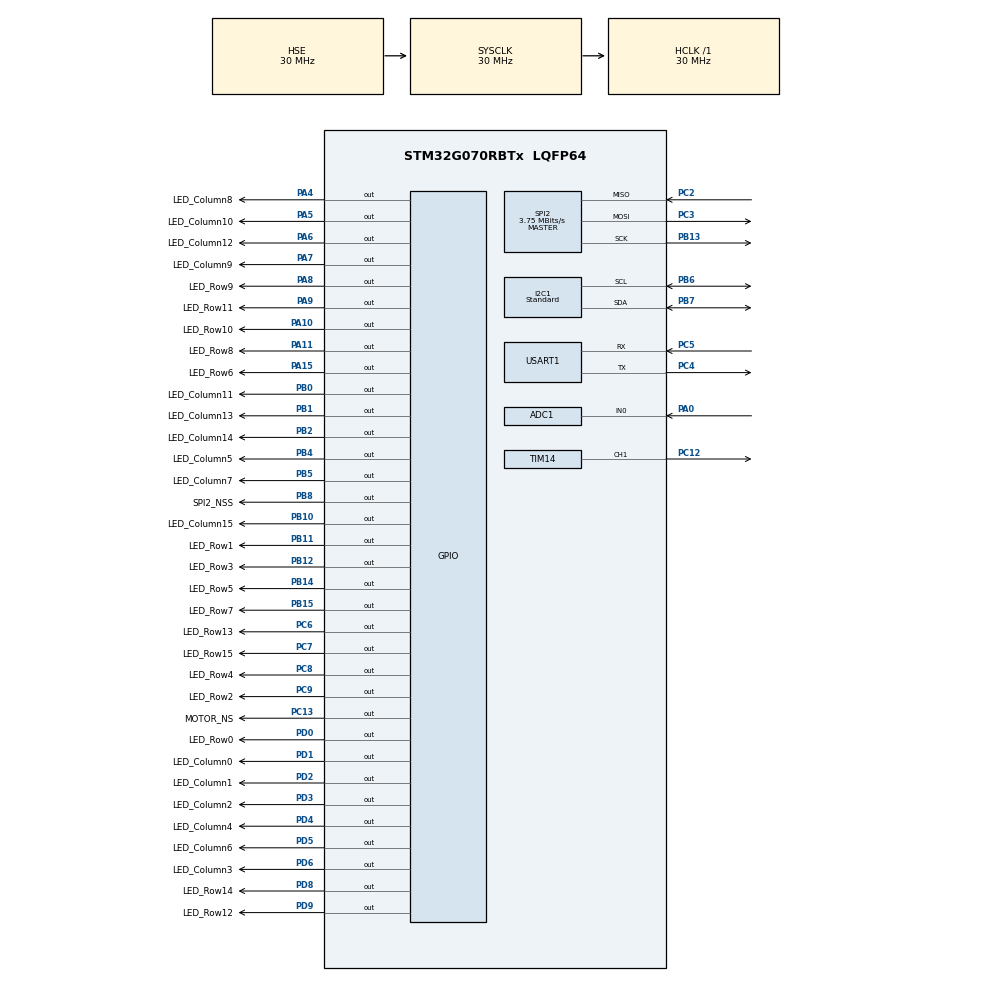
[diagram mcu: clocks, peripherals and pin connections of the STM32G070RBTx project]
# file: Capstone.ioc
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ADC1.Channel-0\#ChannelRegularConversion=ADC_CHANNEL_0
ADC1.NbrOfConversionFlag=1
ADC1.Rank-0\#ChannelRegularConversion=1
ADC1.SamplingTime-0\#ChannelRegularConversion=ADC_SAMPLINGTIME_COMMON_1
ADC1.SelectedChannel=ADC_CHANNEL_0
ADC1.master=1
FATFS.DISKIO_CODE=0
FATFS._FS_REENTRANT=0
FATFS._MAX_SS=512
FATFS._USE_LFN=0
FREERTOS.Tasks01=driveLED,40,128,StartDriveLED,Default,NULL,Dynamic,NULL,NULL
FREERTOS.configUSE_NEWLIB_REENTRANT=1
I2C1.I2C_Speed_Mode=I2C_Standard
I2C1.Timing=0x60101017
Mcu.Family=STM32G0
Mcu.Name=STM32G070RBTx
Mcu.Package=LQFP64
NVIC.I2C1_IRQn=true\:3\:0\:false\:false\:true\:true\:true\:true\:true
NVIC.SPI2_IRQn=true\:3\:0\:false\:false\:true\:true\:true\:true\:true
NVIC.TIM3_IRQn=true\:3\:0\:false\:false\:true\:true\:true\:true\:true
NVIC.TIM6_IRQn=true\:2\:0\:true\:false\:true\:false\:false\:true\:true
NVIC.TimeBase=TIM6_IRQn
NVIC.TimeBaseIP=TIM6
PA0.Mode=IN0
PA0.Signal=ADC1_IN0
PA10.GPIO_FMPA10=SYSCFG_FASTMODEPLUS_PA10
PA10.GPIO_Label=LED_Row10
PA10.GPIO_Speed=GPIO_SPEED_FREQ_VERY_HIGH
PA10.Signal=GPIO_Output
PA11\ [PA9].GPIO_Label=LED_Row8
PA11\ [PA9].GPIO_Speed=GPIO_SPEED_FREQ_VERY_HIGH
PA11\ [PA9].Signal=GPIO_Output
PA13.Mode=Serial_Wire
PA13.Signal=SYS_SWDIO
PA14-BOOT0.Mode=Serial_Wire
PA14-BOOT0.Signal=SYS_SWCLK
PA15.GPIO_Label=LED_Row6
PA15.GPIO_Speed=GPIO_SPEED_FREQ_VERY_HIGH
PA15.Signal=GPIO_Output
PA4.GPIO_Label=LED_Column8
PA4.GPIO_Speed=GPIO_SPEED_FREQ_VERY_HIGH
PA4.Signal=GPIO_Output
PA5.GPIO_Label=LED_Column10
PA5.GPIO_Speed=GPIO_SPEED_FREQ_VERY_HIGH
PA5.Signal=GPIO_Output
PA6.GPIO_Label=LED_Column12
PA6.GPIO_Speed=GPIO_SPEED_FREQ_VERY_HIGH
PA6.Signal=GPIO_Output
PA7.GPIO_Label=LED_Column9
PA7.GPIO_Speed=GPIO_SPEED_FREQ_VERY_HIGH
PA7.Signal=GPIO_Output
PA8.GPIO_Label=LED_Row9
PA8.GPIO_Speed=GPIO_SPEED_FREQ_VERY_HIGH
PA8.Signal=GPIO_Output
PA9.GPIO_FMPA9=SYSCFG_FASTMODEPLUS_PA9
PA9.GPIO_Label=LED_Row11
PA9.GPIO_Speed=GPIO_SPEED_FREQ_VERY_HIGH
PA9.Signal=GPIO_Output
PB0.GPIO_Label=LED_Column11
PB0.GPIO_Speed=GPIO_SPEED_FREQ_VERY_HIGH
PB0.Signal=GPIO_Output
PB1.GPIO_Label=LED_Column13
PB1.GPIO_Speed=GPIO_SPEED_FREQ_VERY_HIGH
PB1.Signal=GPIO_Output
PB10.GPIO_Label=LED_Column15
PB10.GPIO_Speed=GPIO_SPEED_FREQ_VERY_HIGH
PB10.Signal=GPIO_Output
PB11.GPIO_Label=LED_Row1
PB11.GPIO_Speed=GPIO_SPEED_FREQ_VERY_HIGH
PB11.Signal=GPIO_Output
PB12.GPIO_Label=LED_Row3
PB12.GPIO_Speed=GPIO_SPEED_FREQ_VERY_HIGH
PB12.Signal=GPIO_Output
PB13.GPIO_PuPd=GPIO_PULLUP
PB13.GPIO_Speed=GPIO_SPEED_FREQ_VERY_HIGH
PB13.Mode=Full_Duplex_Master
PB13.Signal=SPI2_SCK
PB14.GPIO_Label=LED_Row5
PB14.GPIO_Speed=GPIO_SPEED_FREQ_VERY_HIGH
PB14.Signal=GPIO_Output
PB15.GPIO_Label=LED_Row7
PB15.GPIO_Speed=GPIO_SPEED_FREQ_VERY_HIGH
PB15.Signal=GPIO_Output
PB2.GPIO_Label=LED_Column14
PB2.GPIO_Speed=GPIO_SPEED_FREQ_VERY_HIGH
PB2.Signal=GPIO_Output
PB4.GPIO_Label=LED_Column5
PB4.GPIO_Speed=GPIO_SPEED_FREQ_VERY_HIGH
PB4.Signal=GPIO_Output
PB5.GPIO_Label=LED_Column7
PB5.GPIO_Speed=GPIO_SPEED_FREQ_VERY_HIGH
PB5.Signal=GPIO_Output
PB6.GPIO_Pu=GPIO_PULLUP
PB6.GPIO_Speed=GPIO_SPEED_FREQ_VERY_HIGH
PB6.Mode=I2C
PB6.Signal=I2C1_SCL
PB7.GPIO_Pu=GPIO_PULLUP
PB7.GPIO_Speed=GPIO_SPEED_FREQ_VERY_HIGH
PB7.Mode=I2C
PB7.Signal=I2C1_SDA
PB8.GPIO_FM8=SYSCFG_FASTMODEPLUS_PB8
PB8.GPIO_Label=SPI2_NSS
PB8.GPIO_PuPd=GPIO_PULLUP
PB8.GPIO_Speed=GPIO_SPEED_FREQ_VERY_HIGH
PB8.Signal=GPIO_Output
PC12.Signal=S_TIM14_CH1
PC13.GPIO_Label=MOTOR_NS
PC13.Signal=GPIO_Output
PC2.GPIO_PuPd=GPIO_PULLUP
PC2.GPIO_Speed=GPIO_SPEED_FREQ_VERY_HIGH
PC2.Mode=Full_Duplex_Master
PC2.Signal=SPI2_MISO
PC3.GPIO_PuPd=GPIO_PULLUP
PC3.GPIO_Speed=GPIO_SPEED_FREQ_VERY_HIGH
PC3.Mode=Full_Duplex_Master
PC3.Signal=SPI2_MOSI
PC4.Mode=Asynchronous
PC4.Signal=USART1_TX
PC5.Mode=Asynchronous
PC5.Signal=USART1_RX
PC6.GPIO_Label=LED_Row13
PC6.GPIO_Speed=GPIO_SPEED_FREQ_VERY_HIGH
PC6.Signal=GPIO_Output
PC7.GPIO_Label=LED_Row15
PC7.GPIO_Speed=GPIO_SPEED_FREQ_VERY_HIGH
PC7.Signal=GPIO_Output
PC8.GPIO_Label=LED_Row4
PC8.GPIO_Speed=GPIO_SPEED_FREQ_VERY_HIGH
PC8.Signal=GPIO_Output
PC9.GPIO_Label=LED_Row2
PC9.GPIO_Speed=GPIO_SPEED_FREQ_VERY_HIGH
PC9.Signal=GPIO_Output
PD0.GPIO_Label=LED_Row0
PD0.GPIO_Speed=GPIO_SPEED_FREQ_VERY_HIGH
PD0.Signal=GPIO_Output
PD1.GPIO_Label=LED_Column0
PD1.GPIO_Speed=GPIO_SPEED_FREQ_VERY_HIGH
PD1.Signal=GPIO_Output
PD2.GPIO_Label=LED_Column1
PD2.GPIO_Speed=GPIO_SPEED_FREQ_VERY_HIGH
PD2.Signal=GPIO_Output
PD3.GPIO_Label=LED_Column2
PD3.GPIO_Speed=GPIO_SPEED_FREQ_VERY_HIGH
PD3.Signal=GPIO_Output
PD4.GPIO_Label=LED_Column4
PD4.GPIO_Speed=GPIO_SPEED_FREQ_VERY_HIGH
PD4.Signal=GPIO_Output
PD5.GPIO_Label=LED_Column6
PD5.GPIO_Speed=GPIO_SPEED_FREQ_VERY_HIGH
PD5.Signal=GPIO_Output
PD6.GPIO_Label=LED_Column3
PD6.GPIO_Speed=GPIO_SPEED_FREQ_VERY_HIGH
PD6.Signal=GPIO_Output
PD8.GPIO_Label=LED_Row14
PD8.GPIO_Speed=GPIO_SPEED_FREQ_VERY_HIGH
PD8.Signal=GPIO_Output
PD9.GPIO_Label=LED_Row12
PD9.GPIO_Speed=GPIO_SPEED_FREQ_VERY_HIGH
PD9.Signal=GPIO_Output
PF0-OSC_IN\ (PF0).Mode=HSE-External-Oscillator
PF0-OSC_IN\ (PF0).Signal=RCC_OSC_IN
PF1-OSC_OUT\ (PF1).Mode=HSE-External-Oscillator
PF1-OSC_OUT\ (PF1).Signal=RCC_OSC_OUT
ProjectManager.HeapSize=0x200
ProjectManager.StackSize=0x400
ProjectManager.TargetToolchain=STM32CubeIDE
RCC.ADCFreq_Value=30000000
RCC.AHBFreq_Value=30000000
RCC.CortexFreq_Value=30000000
RCC.EXTERNAL_CLOCK_VALUE=48000
RCC.HCLKFreq_Value=30000000
RCC.HSE_VALUE=30000000
RCC.HSI_VALUE=16000000
RCC.LSE_VALUE=32768
RCC.SYSCLKFreq_VALUE=30000000
RCC.SYSCLKSource=RCC_SYSCLKSOURCE_HSE
RCC.VCOOutputFreq_Value=128000000
SH.S_TIM14_CH1.0=TIM14_CH1,PWM Generation1 CH1
SPI2.BaudRatePrescaler=SPI_BAUDRATEPRESCALER_8
SPI2.CalculateBaudRate=3.75 MBits/s
SPI2.DataSize=SPI_DATASIZE_8BIT
SPI2.Direction=SPI_DIRECTION_2LINES
SPI2.Mode=SPI_MODE_MASTER
SPI2.VirtualType=VM_MASTER
TIM14.Channel=TIM_CHANNEL_1
TIM3.Period=36360-1
TIM3.TIM_MasterOutputTrigger=TIM_TRGO_UPDATE
USART1.VirtualMode-Asynchronous=VM_ASYNC
VP_FATFS_VS_Generic.Mode=User_defined
VP_FREERTOS_VS_CMSIS_V2.Mode=CMSIS_V2
VP_SYS_VS_tim6.Mode=TIM6
VP_TIM14_VS_ClockSourceINT.Mode=Enable_Timer
VP_TIM3_VS_ClockSourceINT.Mode=Internal
board=custom

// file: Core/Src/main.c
/* USER CODE BEGIN Header */
/**
 ******************************************************************************
 * @file           : main.c
 * @brief          : Main program body
 ******************************************************************************
 * @attention
 *
 * Copyright (c) 2024 STMicroelectronics.
 * All rights reserved.
 *
 * This software is licensed under terms that can be found in the LICENSE file
 * in the root directory of this software component.
 * If no LICENSE file comes with this software, it is provided AS-IS.
 *
 *  FatFs code based on tutorial project by kiwih at https://github.com/kiwih/cubeide-sd-card
 *  Portions copyright (c) 2020 STMicroelectronics International N.V., all rights reserved.
 *  Portions copyright (C) 2014, ChaN, all rights reserved.
 *  Portions copyright (C) 2017, 2020, kiwih, all rights reserved.
 *
 *  Redistribution and use in source and binary forms, with or without
 *  modification, are permitted, provided that the following conditions are met:
 *
 *  1. Redistribution of source code must retain the above copyright notice,
 *     this list of conditions and the following disclaimer.
 *  2. Redistributions in binary form must reproduce the above copyright notice,
 *     this list of conditions and the following disclaimer in the documentation
 *     and/or other materials provided with the distribution.
 *  3. Neither the name of STMicroelectronics nor the names of other
 *     contributors to this software may be used to endorse or promote products
 *     derived from this software without specific written permission.
 *  4. This software, including modifications and/or derivative works of this
 *     software, must execute solely and exclusively on microcontroller or
 *     microprocessor devices manufactured by or for STMicroelectronics.
 *  5. Redistribution and use of this software other than as permitted under
 *     this license is void and will automatically terminate your rights under
 *     this license.
 *
 * THIS SOFTWARE IS PROVIDED BY STMICROELECTRONICS AND CONTRIBUTORS "AS IS"
 * AND ANY EXPRESS, IMPLIED OR STATUTORY WARRANTIES, INCLUDING, BUT NOT
 * LIMITED TO, THE IMPLIED WARRANTIES OF MERCHANTABILITY, FITNESS FOR A
 * PARTICULAR PURPOSE AND NON-INFRINGEMENT OF THIRD PARTY INTELLECTUAL PROPERTY
 * RIGHTS ARE DISCLAIMED TO THE FULLEST EXTENT PERMITTED BY LAW. IN NO EVENT
 * SHALL STMICROELECTRONICS OR CONTRIBUTORS BE LIABLE FOR ANY DIRECT, INDIRECT,
 * INCIDENTAL, SPECIAL, EXEMPLARY, OR CONSEQUENTIAL DAMAGES (INCLUDING, BUT NOT
 * LIMITED TO, PROCUREMENT OF SUBSTITUTE GOODS OR SERVICES; LOSS OF USE, DATA,
 * OR PROFITS; OR BUSINESS INTERRUPTION) HOWEVER CAUSED AND ON ANY THEORY OF
 * LIABILITY, WHETHER IN CONTRACT, STRICT LIABILITY, OR TORT (INCLUDING
 * NEGLIGENCE OR OTHERWISE) ARISING IN ANY WAY OUT OF THE USE OF THIS SOFTWARE,
 * EVEN IF ADVISED OF THE POSSIBILITY OF SUCH DAMAGE.
 *
 ******************************************************************************
 */
/* USER CODE END Header */
#include "main.h"
#include "cmsis_os.h"
#include "adc.h"
#include "app_fatfs.h"
#include "i2c.h"
#include "spi.h"
#include "tim.h"
#include "usart.h"
#include "gpio.h"

/* USER CODE BEGIN Includes */
#include <stdio.h>
#include <string.h>
#include <stdarg.h> //for va_list var arg functions
/* USER CODE END Includes */

/* USER CODE BEGIN PD */
#define BUFFER_SIZE 64

//#define TEST_LEDS
#define TEST_SD
/* USER CODE END PD */

/* USER CODE BEGIN PV */
uint8_t current_frame = 0;
extern uint16_t image_leds[55][16];

extern GPIO_TypeDef *led_column_ports[];
extern uint16_t led_column_pins[];
extern GPIO_TypeDef *led_row_ports[];
extern uint16_t led_row_pins[];

uint8_t OutputBuffer[BUFFER_SIZE];
uint16_t i = 0;
uint8_t ReceiveCharacter = 0;

uint8_t rx_buffer[BUFFER_SIZE];
uint8_t rx_index = 0;
/* USER CODE END PV */

void SystemClock_Config(void);
void MX_FREERTOS_Init(void);

int main(void)
{

  /* MCU Configuration--------------------------------------------------------*/

  /* Reset of all peripherals, Initializes the Flash interface and the Systick. */
  HAL_Init();

  /* Configure the system clock */
  SystemClock_Config();

  /* Initialize all configured peripherals */
  MX_GPIO_Init();
  if (MX_FATFS_Init() != APP_OK) {
    Error_Handler();
  }
  MX_I2C1_Init();
  MX_ADC1_Init();
  MX_SPI2_Init();
  MX_TIM14_Init();
  MX_USART1_UART_Init();
  MX_TIM3_Init();
  /* USER CODE BEGIN 2 */
  if (HAL_TIM_Base_Start_IT(&htim3) != HAL_OK) {
	  Error_Handler();
  }

//  SD card testing code
#ifdef TEST_SD
  for (uint8_t i = 0; i < 16; i++) {
	  HAL_GPIO_WritePin(led_row_ports[i], led_row_pins[i], GPIO_PIN_SET);
  }
  for (i = 0; i < 16; i++) {
	  HAL_GPIO_WritePin(led_column_ports[i], led_column_pins[i], GPIO_PIN_SET);
  }
  HAL_GPIO_WritePin(led_row_ports[0], led_row_pins[0], GPIO_PIN_RESET);

  HAL_Delay(1000); // short delay to let the SD card settle

  // some variables for FatFs
  FATFS FatFs; 	// Fatfs handle
  FIL fil; 		// File handle
  FRESULT fres; 	// Result after operations

  // open the file system
  fres = f_mount(&FatFs, "", 1); //1=mount now
  if (fres != FR_OK) {
	  HAL_GPIO_WritePin(led_row_ports[15], led_row_pins[15], GPIO_PIN_RESET);
	  while(1);
  }
  HAL_GPIO_WritePin(led_row_ports[1], led_row_pins[1], GPIO_PIN_RESET);

  // gather statistics from the SD card
  DWORD free_clusters;

  FATFS* getFreeFs;

  fres = f_getfree("", &free_clusters, &getFreeFs);
  if (fres != FR_OK) {
	  while(1);
  }

  HAL_GPIO_WritePin(led_row_ports[2], led_row_pins[2], GPIO_PIN_RESET);

  //Now let's try to open file "test.txt"
  fres = f_open(&fil, "test.txt", FA_READ);
  if (fres != FR_OK) {
	  HAL_GPIO_WritePin(led_row_ports[15], led_row_pins[15], GPIO_PIN_RESET);
	  while(1);
  }

  HAL_GPIO_WritePin(led_row_ports[3], led_row_pins[3], GPIO_PIN_RESET);

  BYTE readBuf[17];
  int x = -1;
  int x3 = 0;
  int image = 0;
  char fullText[128];
  unsigned int decimal_value = 0;
  memset(fullText, 0, sizeof(fullText));
  TCHAR* rres3 = "4";
  if(rres3 != 0) {
	  while (x < 1760) { //this states limit of how big the txt is
		  f_gets((TCHAR*)readBuf, 17, &fil);
		  x += 1;
		  decimal_value = 0;
		  if ((x+1) % 2 == 1) {
			  // Concatenate the read line to the full text buffer
			  for (int i = 0; i < 16; i++) { // the 16 bits when running
				  // Convert '1' or '0' char to its integer value
				  int bit_value = readBuf[i] - '0'; // '1' - '0' = 1, '0' - '0' = 0

				  // Update the decimal value
				  decimal_value = (decimal_value << 1) | bit_value; // Left-shift and add the current bit
			  }
			  image_leds[image][x3] = decimal_value;
			  x3 += 1;
		  }
		  if (x3 > 15) {
			  image += 1;
			  x3 = 0;
		  }
	  }
  } else {
	  HAL_GPIO_WritePin(led_row_ports[15], led_row_pins[15], GPIO_PIN_RESET);
	  while (1);
  }

  HAL_GPIO_WritePin(led_row_ports[4], led_row_pins[4], GPIO_PIN_RESET);

  f_close(&fil);

  HAL_GPIO_WritePin(led_row_ports[5], led_row_pins[5], GPIO_PIN_RESET);

  //We're done, so de-mount the drive
  f_mount(NULL, "", 0);

  HAL_GPIO_WritePin(led_row_ports[6], led_row_pins[6], GPIO_PIN_RESET);

#elif TEST_LEDS
  	// nmos = columns | pmos = rows
  	for (uint8_t j = 0; j < 16; j++) {
  		HAL_GPIO_WritePin(led_column_ports[j], led_column_pins[j], GPIO_PIN_SET);
  	}

  	for (uint8_t i = 0; i < 16; i++) {
  		HAL_GPIO_WritePin(led_row_ports[i], led_row_pins[i], GPIO_PIN_SET);
  	}
  	i = 0;
  	while (1) {
  		HAL_GPIO_WritePin(led_row_ports[i], led_row_pins[i], GPIO_PIN_RESET);
  		HAL_Delay(25);
  		HAL_GPIO_WritePin(led_row_ports[i], led_row_pins[i], GPIO_PIN_SET);
  		i++;
  		if (i > 15) i = 0;
  	}
#else
//  	for (uint8_t i = 0; i < 55; i++) {
//  		image_leds[i][0] = 0xFFFF;
//  		image_leds[i][1] = 0xFFFF;
//  		image_leds[i][2] = 0xFFFF;
//  		image_leds[i][3] = 0xFFFF;
//  		image_leds[i][4] = 0x0000;
//  		image_leds[i][5] = 0x0000;
//  		image_leds[i][6] = 0x0000;
//  		image_leds[i][7] = 0x0000;
//  		image_leds[i][8] = 0x0000;
//  		image_leds[i][9] = 0x0000;
//  		image_leds[i][10] = 0x0000;
//  		image_leds[i][11] = 0x0000;
//  		image_leds[i][12] = 0xFFFF;
//  		image_leds[i][13] = 0xFFFF;
//  		image_leds[i][14] = 0xFFFF;
//  		image_leds[i][15] = 0xFFFF;
//  	}
  	for (uint8_t i = 0; i < 55; i++) {
  	  image_leds[i][0] = 0x0000;
	  image_leds[i][1] = 0x0000;
	  image_leds[i][2] = 0x0000;
	  image_leds[i][3] = 0x0000;
	  image_leds[i][4] = 0x0000;
	  image_leds[i][5] = 0x0000;
	  image_leds[i][6] = 0x0000;
	  image_leds[i][7] = 0x0000;
	  image_leds[i][8] = 0x0000;
	  image_leds[i][9] = 0x0000;
	  image_leds[i][10] = 0x0000;
	  image_leds[i][11] = 0x0000;
	  image_leds[i][12] = 0x0000;
	  image_leds[i][13] = 0x0000;
	  image_leds[i][14] = 0x0000;
	  image_leds[i][15] = 0x0000;

	  image_leds[i][i % 16] = 0xFFFF;
  }
#endif
  /* USER CODE END 2 */

  /* Init scheduler */
  osKernelInitialize();

  /* Call init function for freertos objects (in cmsis_os2.c) */
  MX_FREERTOS_Init();

  /* Start scheduler */
  osKernelStart();

  /* We should never get here as control is now taken by the scheduler */

  /* Infinite loop */
	while (1)
	{

	}
}

void SystemClock_Config(void)
{
  RCC_OscInitTypeDef RCC_OscInitStruct = {0};
  RCC_ClkInitTypeDef RCC_ClkInitStruct = {0};

  /** Configure the main internal regulator output voltage
  */
  HAL_PWREx_ControlVoltageScaling(PWR_REGULATOR_VOLTAGE_SCALE1);

  /** Initializes the RCC Oscillators according to the specified parameters
  * in the RCC_OscInitTypeDef structure.
  */
  RCC_OscInitStruct.OscillatorType = RCC_OSCILLATORTYPE_HSE;
  RCC_OscInitStruct.HSEState = RCC_HSE_ON;
  RCC_OscInitStruct.PLL.PLLState = RCC_PLL_NONE;
  if (HAL_RCC_OscConfig(&RCC_OscInitStruct) != HAL_OK)
  {
    Error_Handler();
  }

  /** Initializes the CPU, AHB and APB buses clocks
  */
  RCC_ClkInitStruct.ClockType = RCC_CLOCKTYPE_HCLK|RCC_CLOCKTYPE_SYSCLK
                              |RCC_CLOCKTYPE_PCLK1;
  RCC_ClkInitStruct.SYSCLKSource = RCC_SYSCLKSOURCE_HSE;
  RCC_ClkInitStruct.AHBCLKDivider = RCC_SYSCLK_DIV1;
  RCC_ClkInitStruct.APB1CLKDivider = RCC_HCLK_DIV1;

  if (HAL_RCC_ClockConfig(&RCC_ClkInitStruct, FLASH_LATENCY_1) != HAL_OK)
  {
    Error_Handler();
  }
}

/* USER CODE BEGIN 4 */
void ReadSD() {
	HAL_Delay(1000); // short delay to let the SD card settle

	// some variables for FatFs
	FATFS FatFs; 	// Fatfs handle
	FIL fil; 		// File handle
	FRESULT fres; 	// Result after operations

	// open the file system
	fres = f_mount(&FatFs, "", 1); //1=mount now
	if (fres != FR_OK) {
		while(1);
	}

	// gather statistics from the SD card
	DWORD free_clusters;

	FATFS* getFreeFs;

	fres = f_getfree("", &free_clusters, &getFreeFs);
	if (fres != FR_OK) {
		while(1);
	}

	//Now let's try to open file "test.txt"
	fres = f_open(&fil, "full_obj_output.txt", FA_READ);
	if (fres != FR_OK) {
		while(1);
	}

	BYTE readBuf[17];
	int x = -1;
	int x3 = 0;
	int image = 0;
	char fullText[128];
	unsigned int decimal_value = 0;
	memset(fullText, 0, sizeof(fullText));
	TCHAR* rres3 = "4";
	if(rres3 != 0) {
		while (x < 1760) { //this states limit of how big the txt is
			f_gets((TCHAR*)readBuf, 17, &fil);
			x += 1;
			decimal_value = 0;
			if ((x+1) % 2 == 1) {
				// Concatenate the read line to the full text buffer
				for (int i = 0; i < 16; i++) { // the 16 bits when running
					// Convert '1' or '0' char to its integer value
					int bit_value = readBuf[i] - '0'; // '1' - '0' = 1, '0' - '0' = 0

					// Update the decimal value
					decimal_value = (decimal_value << 1) | bit_value; // Left-shift and add the current bit
				}
				image_leds[image][x3] = decimal_value;
				x3 += 1;
			}
			if (x3 > 15) {
				image += 1;
				x3 = 0;
			}
		}

	}

	f_close(&fil);
	f_mount(NULL, "", 0);
}

//
void HAL_GPIO_EXTI_Falling_Callback(uint16_t GPIO_Pin) {
	// If chip select pin goes low, SD card was plugged in
	if (GPIO_Pin == SPI2_NSS_Pin) {
		// critical section to stop scheduler from exiting SD mount
		taskENTER_CRITICAL();
		ReadSD();
		taskEXIT_CRITICAL();
	}
}

// Callback for data reception
void HAL_I2C_MasterRxCpltCallback(I2C_HandleTypeDef *hi2c) {
    if (hi2c->Instance == I2C1) {
        // Handle received data
    	FIL fil; 		// File handle
    	BYTE readBuf[17];
    	int x = -1;
    	int x3 = 0;
    	int image = 0;
    	char fullText[128];
    	unsigned int decimal_value = 0;
    	memset(fullText, 0, sizeof(fullText));
    	TCHAR* rres3 = "4";
    	if (rres3 != 0) {
    		while (x < 1760) { //this states limit of how big the txt is
    			f_gets((TCHAR*)readBuf, 17, &fil);
    			x += 1;
    			decimal_value = 0;
    			if ((x+1) % 2 == 1) {
    				// Concatenate the read line to the full text buffer
    				for (int i = 0; i < 16; i++) { // the 16 bits when running
    					// Convert '1' or '0' char to its integer value
    					int bit_value = readBuf[i] - '0'; // '1' - '0' = 1, '0' - '0' = 0

    					// Update the decimal value
    					decimal_value = (decimal_value << 1) | bit_value; // Left-shift and add the current bit
    				}
    				image_leds[image][x3] = decimal_value;
    				x3 += 1;
    			}
    			if (x3 > 15) {
    				image += 1;
    				x3 = 0;
    			}
    		}
    	}
    	// For example, restart reception or process the received data
    	HAL_I2C_Master_Receive_IT(&hi2c1, 0x70, rx_buffer, BUFFER_SIZE);
    }
}

// Error callback
void HAL_I2C_ErrorCallback(I2C_HandleTypeDef *hi2c) {
    if (hi2c->Instance == I2C1) {
        // Handle I2C error
        Error_Handler();
    }
}

/* USER CODE END 4 */

void HAL_TIM_PeriodElapsedCallback(TIM_HandleTypeDef *htim)
{
  /* USER CODE BEGIN Callback 0 */
  if (htim->Instance == TIM3) {
	current_frame = (current_frame + 1) % 55;
  }
  /* USER CODE END Callback 0 */
  if (htim->Instance == TIM6) {
    HAL_IncTick();
  }
}

void Error_Handler(void)
{
	__disable_irq();
	while (1)
	{
	}
}

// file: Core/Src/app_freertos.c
/* USER CODE BEGIN Header */
/**
 ******************************************************************************
 * File Name          : app_freertos.c
 * Description        : Code for freertos applications
 ******************************************************************************
 * @attention
 *
 * Copyright (c) 2024 STMicroelectronics.
 * All rights reserved.
 *
 * This software is licensed under terms that can be found in the LICENSE file
 * in the root directory of this software component.
 * If no LICENSE file comes with this software, it is provided AS-IS.
 *
 ******************************************************************************
 */
/* USER CODE END Header */

#include "FreeRTOS.h"
#include "task.h"
#include "main.h"
#include "cmsis_os.h"

/* USER CODE BEGIN Includes */
#include "app_fatfs.h"
#include <stdio.h>
#include <string.h>
#include <stdarg.h>
/* USER CODE END Includes */

/* USER CODE BEGIN Variables */
GPIO_TypeDef *led_column_ports[] = {LED_Column0_GPIO_Port, LED_Column1_GPIO_Port, LED_Column2_GPIO_Port, LED_Column3_GPIO_Port, LED_Column4_GPIO_Port, LED_Column5_GPIO_Port,
		LED_Column6_GPIO_Port, LED_Column7_GPIO_Port, LED_Column8_GPIO_Port, LED_Column9_GPIO_Port, LED_Column10_GPIO_Port, LED_Column11_GPIO_Port,
		LED_Column12_GPIO_Port, LED_Column13_GPIO_Port, LED_Column14_GPIO_Port, LED_Column15_GPIO_Port};

uint16_t led_column_pins[] = {LED_Column0_Pin, LED_Column1_Pin, LED_Column2_Pin, LED_Column3_Pin, LED_Column4_Pin, LED_Column5_Pin,
		LED_Column6_Pin, LED_Column7_Pin, LED_Column8_Pin, LED_Column9_Pin, LED_Column10_Pin, LED_Column11_Pin,
		LED_Column12_Pin, LED_Column13_Pin, LED_Column14_Pin, LED_Column15_Pin};

GPIO_TypeDef *led_row_ports[] = {LED_Row0_GPIO_Port, LED_Row1_GPIO_Port, LED_Row2_GPIO_Port, LED_Row3_GPIO_Port, LED_Row4_GPIO_Port, LED_Row5_GPIO_Port,
		LED_Row6_GPIO_Port, LED_Row7_GPIO_Port, LED_Row8_GPIO_Port, LED_Row9_GPIO_Port, LED_Row10_GPIO_Port, LED_Row11_GPIO_Port,
		LED_Row12_GPIO_Port, LED_Row13_GPIO_Port, LED_Row14_GPIO_Port, LED_Row15_GPIO_Port};

uint16_t led_row_pins[] = {LED_Row0_Pin, LED_Row1_Pin, LED_Row2_Pin, LED_Row3_Pin, LED_Row4_Pin, LED_Row5_Pin,
		LED_Row6_Pin, LED_Row7_Pin, LED_Row8_Pin, LED_Row9_Pin, LED_Row10_Pin, LED_Row11_Pin,
		LED_Row12_Pin, LED_Row13_Pin, LED_Row14_Pin, LED_Row15_Pin};

uint16_t image_leds[55][16];
extern uint8_t current_frame;

/* USER CODE END Variables */
/* Definitions for driveLED */
osThreadId_t driveLEDHandle;
const osThreadAttr_t driveLED_attributes = {
  .name = "driveLED",
  .priority = (osPriority_t) osPriorityHigh,
  .stack_size = 128 * 4
};

void StartDriveLED(void *argument);

void MX_FREERTOS_Init(void); /* (MISRA C 2004 rule 8.1) */

void MX_FREERTOS_Init(void) {

  /* Create the thread(s) */
  /* creation of driveLED */
  driveLEDHandle = osThreadNew(StartDriveLED, NULL, &driveLED_attributes);

}

void StartDriveLED(void *argument)
{
  /* USER CODE BEGIN StartDriveLED */
  /* Infinite loop */
  for(;;)
  {
	  for (uint8_t i = 0; i < 16; i++) {
		  // set columns
		  for (uint8_t j = 0; j < 16; j++) {
			  if (image_leds[current_frame][i] & (0x1 << (15-j))) {
				  HAL_GPIO_WritePin(led_column_ports[j], led_column_pins[j], GPIO_PIN_SET);
			  } else {
				  HAL_GPIO_WritePin(led_column_ports[j], led_column_pins[j], GPIO_PIN_RESET);
			  }
		  }
		  // turn on row (active low)
		  HAL_GPIO_WritePin(led_row_ports[i], led_row_pins[i], GPIO_PIN_RESET);
		  osDelay(20);

		  // turn off row
		  HAL_GPIO_WritePin(led_row_ports[i], led_row_pins[i], GPIO_PIN_SET);
	  }
  }
  osThreadTerminate(NULL);
  /* USER CODE END StartDriveLED */
}
